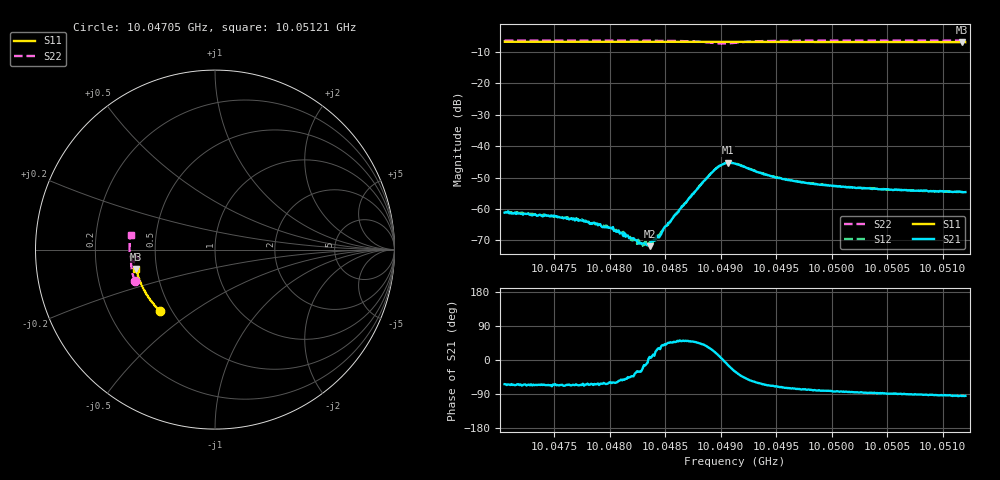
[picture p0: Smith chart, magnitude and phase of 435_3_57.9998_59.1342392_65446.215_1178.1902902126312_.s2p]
#  HZ  S  RI  R  50.00
! Rohde & Schwarz Vector Network Analyzer
! Rohde-Schwarz,ZNB20-2Port,1311601062101988,3.16
! Created: UTC 3/21/2024, 1:09:49 AM
! freq[Hz]  re:S11  im:S11  re:S21  im:S21  re:S12  im:S12  re:S22  im:S22
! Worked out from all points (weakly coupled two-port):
!   401 points, 10.04705 GHz to 10.05121 GHz, reference 50 ohm
!   highest |S21| = -45.29 dB at 10.04907 GHz (marker M1); lowest = -71.8 dB at 10.04836 GHz (marker M2)
!   lowest |S11| = -6.9 dB at 10.05117 GHz (marker M3), VSWR 2.65, Z = 19.1 - j5.17 ohm
!   |S11| at or under -10 dB: nowhere
!   |S22| runs from -7.4 to -6.4 dB; largest |S21 - S12| = 0.00039
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1.0047052e10  -0.3086 -0.3403  0.000388 -0.000786  0.000441 -0.000794  -0.446 -0.1771
1.0047499e10  -0.3293 -0.319  0.00033 -0.000715  0.000343 -0.000675  -0.4553 -0.148
1.0047748e10  -0.3401 -0.3066  0.000267 -0.0006  0.000321 -0.00061  -0.4599 -0.1313
1.0047945e10  -0.3483 -0.2966  0.000256 -0.000449  0.00027 -0.000472  -0.4629 -0.1175
1.0048007e10  -0.3508 -0.2935  0.000262 -0.000433  0.000298 -0.000426  -0.4638 -0.113
1.0048101e10  -0.3547 -0.2885  0.00026 -0.000331  0.000281 -0.000335  -0.4649 -0.1064
1.0048194e10  -0.3583 -0.2836  0.000246 -0.000232  0.000233 -0.000222  -0.466 -0.0993
1.0048288e10  -0.362 -0.2787  0.000245 -0.000129  0.000268 -0.000109  -0.4666 -0.0921
1.004834e10  -0.364 -0.276  0.000261 -3.57e-05  0.000271 -2.25e-05  -0.4669 -0.088
1.004836e10  -0.3647 -0.2748  0.000253 3.76e-05  0.000297 2.66e-05  -0.4669 -0.0863
1.0048444e10  -0.3677 -0.2702  0.000302 0.000183  0.00032 0.000213  -0.4673 -0.0794
1.0048506e10  -0.3702 -0.267  0.000406 0.000349  0.000392 0.000359  -0.4669 -0.074
1.0048579e10  -0.3729 -0.263  0.000509 0.000571  0.000495 0.000591  -0.4663 -0.0671
1.0048911e10  -0.3842 -0.2442  0.00319 0.00179  0.00311 0.00196  -0.4411 -0.0378
1.0048994e10  -0.3868 -0.2396  0.00482 0.000712  0.00481 0.00101  -0.4271 -0.045
1.0049067e10  -0.389 -0.2356  0.00528 -0.00129  0.00537 -0.000941  -0.4261 -0.06
1.0049129e10  -0.3912 -0.2323  0.00454 -0.00267  0.00477 -0.00238  -0.4353 -0.0685
1.0049503e10  -0.4029 -0.2107  0.00109 -0.00295  0.00127 -0.00292  -0.4704 -0.0422
1.0049825e10  -0.4118 -0.1915  0.000466 -0.00247  0.000621 -0.00248  -0.4754 -0.0155
1.005052e10  -0.428 -0.1488  4.55e-05 -0.00203  0.000164 -0.00202  -0.4751 0.0346
1.0051174e10  -0.439 -0.1076  -0.000162 -0.00186  -3.48e-05 -0.00187  -0.4696 0.0786
1.0051206e10  -0.4397 -0.1057  -0.000146 -0.00185  -4.65e-05 -0.00186  -0.4692 0.0808
